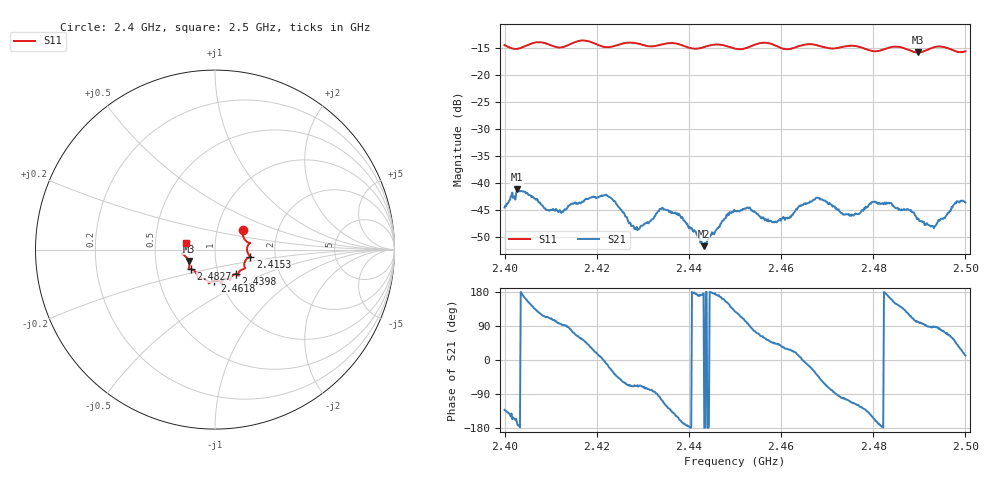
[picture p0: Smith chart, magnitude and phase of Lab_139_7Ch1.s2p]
# Hz S RI R 50
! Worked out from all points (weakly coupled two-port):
!   601 points, 2.4 GHz to 2.5 GHz, reference 50 ohm
!   highest |S21| = -41.24 dB at 2.4027 GHz (marker M1); lowest = -51.8 dB at 2.4432 GHz (marker M2)
!   lowest |S11| = -15.9 dB at 2.4897 GHz (marker M3), VSWR 1.38, Z = 36.9 - j4.83 ohm
!   |S11| at or under -10 dB: start of sweep to end of sweep
!   S12 and S22 are empty: the file has one direction only
!   S11 on the Smith chart (normalised r, x): 2.4 GHz: 1.33, +0.29; 2.4153 GHz: 1.48, -0.12; 2.4398 GHz: 1.21, -0.34; 2.4618 GHz: 0.94, -0.33; 2.4827 GHz: 0.75, -0.17; 2.5 GHz: 0.72, +0.06
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2.4e9  0.1545 0.1067  -0.00389 -0.00441  0 0  0 0
2.402667e9  0.1608 0.0639  -0.00836 -0.00228  0 0  0 0
2.4095e9  0.1884 0.0315  -0.00206 0.00515  0 0  0 0
2.415333e9  0.1966 -0.0391  0.00252 0.00606  0 0  0 0
2.416667e9  0.2025 -0.0431  0.00359 0.00548  0 0  0 0
2.4225e9  0.1653 -0.0702  0.00712 -0.00209  0 0  0 0
2.428667e9  0.1641 -0.1053  0.00141 -0.00363  0 0  0 0
2.433333e9  0.1302 -0.1341  -0.000401 -0.00543  0 0  0 0
2.4375e9  0.1306 -0.1423  -0.00452 -0.00257  0 0  0 0
2.439833e9  0.1152 -0.1364  -0.00391 -0.000326  0 0  0 0
2.443167e9  0.0874 -0.1565  -0.00257 0.000193  0 0  0 0
2.45e9  0.065 -0.1617  -0.00333 0.00428  0 0  0 0
2.452833e9  0.039 -0.1745  -0.000627 0.00581  0 0  0 0
2.4585e9  0.0346 -0.185  0.0031 0.00294  0 0  0 0
2.461833e9  -0.00316 -0.1726  0.00417 0.00214  0 0  0 0
2.466667e9  -0.0347 -0.1879  0.00615 -0.00264  0 0  0 0
2.475333e9  -0.094 -0.1597  -0.00184 -0.00471  0 0  0 0
2.482667e9  -0.135 -0.1089  -0.0063 0.000458  0 0  0 0
2.483333e9  -0.1403 -0.1085  -0.00632 0.00145  0 0  0 0
2.489667e9  -0.1472 -0.0638  -0.000886 0.00456  0 0  0 0
2.493167e9  -0.1774 -0.0256  0.00015 0.00378  0 0  0 0
2.5e9  -0.1596 0.0389  0.00639 0.00134  0 0  0 0
